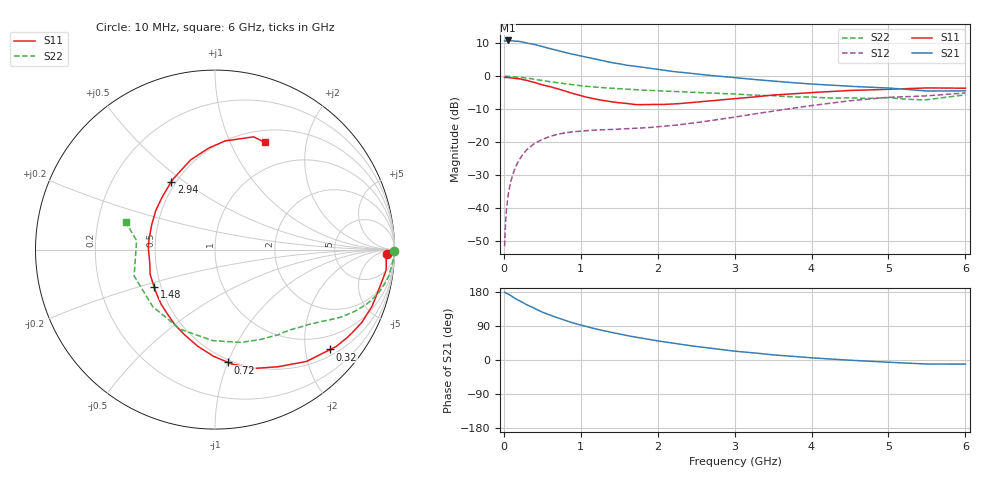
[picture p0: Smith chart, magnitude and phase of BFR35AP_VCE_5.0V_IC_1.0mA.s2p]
! Infineon Technologies  Discrete & RF Semiconductors
! BFR35AP
! VCE =  5.0 V,  IC =  1.0 mA
! Common Emitter S-Parameters:  Nov 2015
# GHz  S  MA  R  50
!  f  S11  S21  S12  S22
! GHz  MAG  ANG  MAG  ANG  MAG  ANG  MAG  ANG
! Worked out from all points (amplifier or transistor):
!   210 points, 10 MHz to 6 GHz, reference 50 ohm
!   highest |S21| = 10.9 dB at 50 MHz (marker M1)
!   |S21| within 3 dB of that: start of sweep to 690.6 MHz
!   unconditionally stable (mu >= 1): 1.45 GHz to 3.884 GHz; 5.158 GHz to end of sweep
!   at 185 MHz: K = 0.15, MSG = 18.3 dB, |S12| = -26.1 dB
!   at 1.52 GHz: K = 1.03, MAG = 8.8 dB, |S12| = -16.1 dB
!   at 6 GHz: K = 1.02, MAG = -0.4 dB, |S12| = -5.1 dB
!   S11 on the Smith chart (normalised r, x): 10 MHz: 36, -22; 320 MHz: 0.64, -2.54; 720 MHz: 0.48, -1.00; 1.48 GHz: 0.46, -0.22; 2.94 GHz: 0.47, +0.45; 6 GHz: 0.64, +1.36
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0.01  0.9609 -1.4  3.469 179.2  0.0026 88.4  0.9999 -0.5
0.025  0.9557 -3.2  3.423 177.0  0.0066 84.7  0.9968 -1.4
0.05  0.9605 -6.8  3.501 174.3  0.0138 85.3  0.9963 -2.8
0.09  0.9438 -12.0  3.485 169.8  0.0248 82.8  0.9888 -5.0
0.145  0.9306 -19.2  3.409 162.7  0.0396 77.8  0.982 -8.0
0.2  0.9131 -26.4  3.395 156.6  0.0536 74.0  0.9694 -10.7
0.32  0.8498 -40.9  3.158 143.8  0.0801 65.0  0.9294 -16.3
0.4  0.8051 -50.7  3.048 136.1  0.0948 60.0  0.9006 -19.5
0.5  0.7412 -61.7  2.837 126.2  0.1095 54.3  0.8602 -23.1
0.72  0.6332 -83.3  2.426 109.8  0.1325 45.3  0.7897 -28.6
0.88  0.5545 -98.3  2.182 99.0  0.1422 40.7  0.7449 -31.8
1.02  0.498 -111.0  2.014 90.9  0.1469 38.1  0.7128 -34.3
1.2  0.4457 -126.7  1.809 81.6  0.1518 35.7  0.6818 -37.2
1.48  0.3974 -148.7  1.562 69.7  0.1566 34.8  0.648 -41.3
2.02  0.3716 169.6  1.262 49.8  0.1713 39.0  0.5993 -50.2
2.4  0.3949 146.7  1.119 38.2  0.1897 42.8  0.5728 -58.3
2.94  0.4496 122.7  0.967 24.8  0.2333 45.5  0.54 -72.4
3.1  0.4664 117.3  0.928 21.5  0.2496 45.3  0.5278 -77.5
4.1  0.5731 91.8  0.749 4.5  0.3703 38.6  0.4748 -118.0
5.1  0.6385 76.0  0.648 -6.9  0.4822 23.2  0.4605 -166.5
5.5  0.6641 71.1  0.596 -10.6  0.5032 15.8  0.4397 173.5
6  0.6584 65.2  0.599 -10.9  0.5564 10.9  0.5208 162.8
